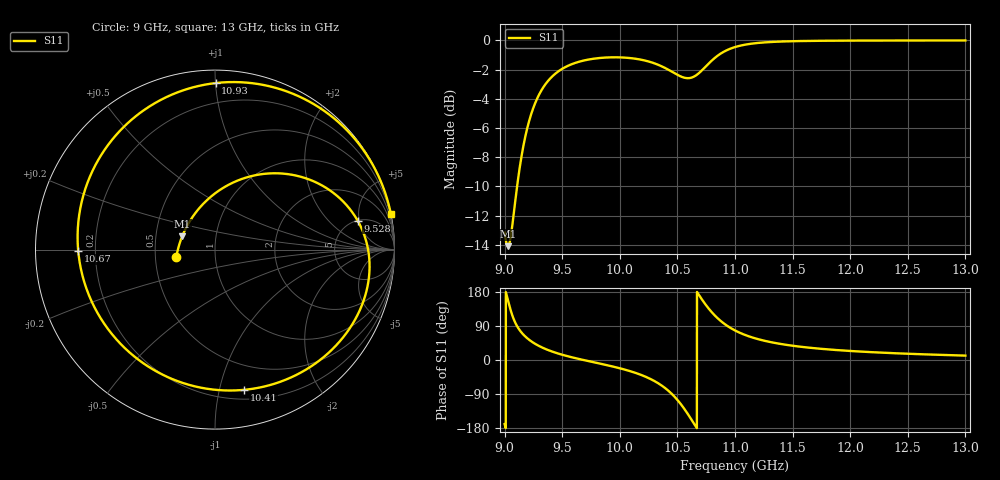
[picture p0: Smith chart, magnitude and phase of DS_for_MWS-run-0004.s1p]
! TOUCHSTONE file generated by CST DESIGN STUDIO
! Date and time: Tue Feb  4 14:40:39 2025
! Project name: C:\Work\MatlabApps\UnitCellOptimizationMatlab\CST\unitcell.cst
! Tree item: Tasks\Sweep1\SPara1\S-Parameters
! Header version: 2024
! Port assignment regex: !\s*Touchstone port\s*([0-9]+)\s*=\s*(CST MWS port|CST DES external port|CST DES block port)\s*(.+)\s* \(\"(.*)\"\)(\s*mode\s*([0-9]+))?.*
! Touchstone port assignment:
! Touchstone port 1 = CST DES external port 1 ("")
# GHz S MA R 50
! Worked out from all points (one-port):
!   4001 points, 9 GHz to 13 GHz, reference 50 ohm
!   lowest |S11| = -14.1 dB at 9.029 GHz (marker M1), VSWR 1.49, Z = 34.2 + j5.23 ohm
!   |S11| at or under -10 dB: start of sweep to 9.108 GHz
!   S11 on the Smith chart (normalised r, x): 9 GHz: 0.64, -0.06; 9.528 GHz: 5.00, +4.73; 10.41 GHz: 0.28, -1.19; 10.67 GHz: 0.13, -0.00; 10.93 GHz: 0.08, +1.00; 13 GHz: 0.01, +9.84
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9  0.2195 -169.2
9.029  0.1972 158.1
9.115  0.3308 85.9
9.202  0.5104 56.0
9.34  0.6947 31.0
9.5  0.7993 13.9
9.528  0.8107 11.5
9.757  0.8639 -4.8
10  0.8749 -21.8
10.128  0.8665 -33.2
10.236  0.85 -45.8
10.328  0.8268 -60.4
10.411  0.7978 -78.4
10.5  0.7625 -105.3
10.579  0.7429 -137.3
10.626  0.7465 -159.3
10.668  0.7622 -179.5
10.728  0.8007 153.2
10.801  0.8549 125.2
10.863  0.8945 106.4
10.934  0.9278 89.8
11  0.949 78.0
11.096  0.9685 65.1
11.207  0.9811 54.5
11.5  0.994 37.6
12  0.9987 23.8
12.5  0.9996 16.5
13  0.9999 11.6
